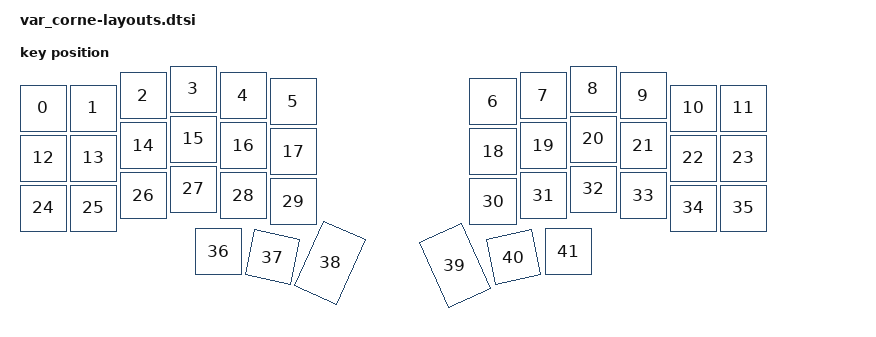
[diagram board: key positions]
#include <physical_layouts.dtsi>

/ {
    physical_layout_var_corne: physical_layout_var_corne {
        compatible = "zmk,physical-layout";
        display-name = "var_corne";
        keys  //                     w   h    x    y     rot    rx    ry
            = <&key_physical_attrs 100 100    0   38       0     0     0>
            , <&key_physical_attrs 100 100  100   38       0     0     0>
            , <&key_physical_attrs 100 100  200   13       0     0     0>
            , <&key_physical_attrs 100 100  300    0       0     0     0>
            , <&key_physical_attrs 100 100  400   13       0     0     0>
            , <&key_physical_attrs 100 100  500   25       0     0     0>
            , <&key_physical_attrs 100 100  900   25       0     0     0>
            , <&key_physical_attrs 100 100 1000   13       0     0     0>
            , <&key_physical_attrs 100 100 1100    0       0     0     0>
            , <&key_physical_attrs 100 100 1200   13       0     0     0>
            , <&key_physical_attrs 100 100 1300   38       0     0     0>
            , <&key_physical_attrs 100 100 1400   38       0     0     0>
            , <&key_physical_attrs 100 100    0  138       0     0     0>
            , <&key_physical_attrs 100 100  100  138       0     0     0>
            , <&key_physical_attrs 100 100  200  113       0     0     0>
            , <&key_physical_attrs 100 100  300  100       0     0     0>
            , <&key_physical_attrs 100 100  400  113       0     0     0>
            , <&key_physical_attrs 100 100  500  125       0     0     0>
            , <&key_physical_attrs 100 100  900  125       0     0     0>
            , <&key_physical_attrs 100 100 1000  113       0     0     0>
            , <&key_physical_attrs 100 100 1100  100       0     0     0>
            , <&key_physical_attrs 100 100 1200  113       0     0     0>
            , <&key_physical_attrs 100 100 1300  138       0     0     0>
            , <&key_physical_attrs 100 100 1400  138       0     0     0>
            , <&key_physical_attrs 100 100    0  238       0     0     0>
            , <&key_physical_attrs 100 100  100  238       0     0     0>
            , <&key_physical_attrs 100 100  200  213       0     0     0>
            , <&key_physical_attrs 100 100  300  200       0     0     0>
            , <&key_physical_attrs 100 100  400  213       0     0     0>
            , <&key_physical_attrs 100 100  500  225       0     0     0>
            , <&key_physical_attrs 100 100  900  225       0     0     0>
            , <&key_physical_attrs 100 100 1000  213       0     0     0>
            , <&key_physical_attrs 100 100 1100  200       0     0     0>
            , <&key_physical_attrs 100 100 1200  213       0     0     0>
            , <&key_physical_attrs 100 100 1300  238       0     0     0>
            , <&key_physical_attrs 100 100 1400  238       0     0     0>
            , <&key_physical_attrs 100 100  350  325       0     0     0>
            , <&key_physical_attrs 100 100  450  325    1194   450   425>
            , <&key_physical_attrs 100 150  548  296    2388   548   446>
            , <&key_physical_attrs 100 150  848  300 (-2388)   952   446>
            , <&key_physical_attrs 100 100  950  325 (-1194)  1050   425>
            , <&key_physical_attrs 100 100 1050  325       0     0     0>
            ;
    };
};
